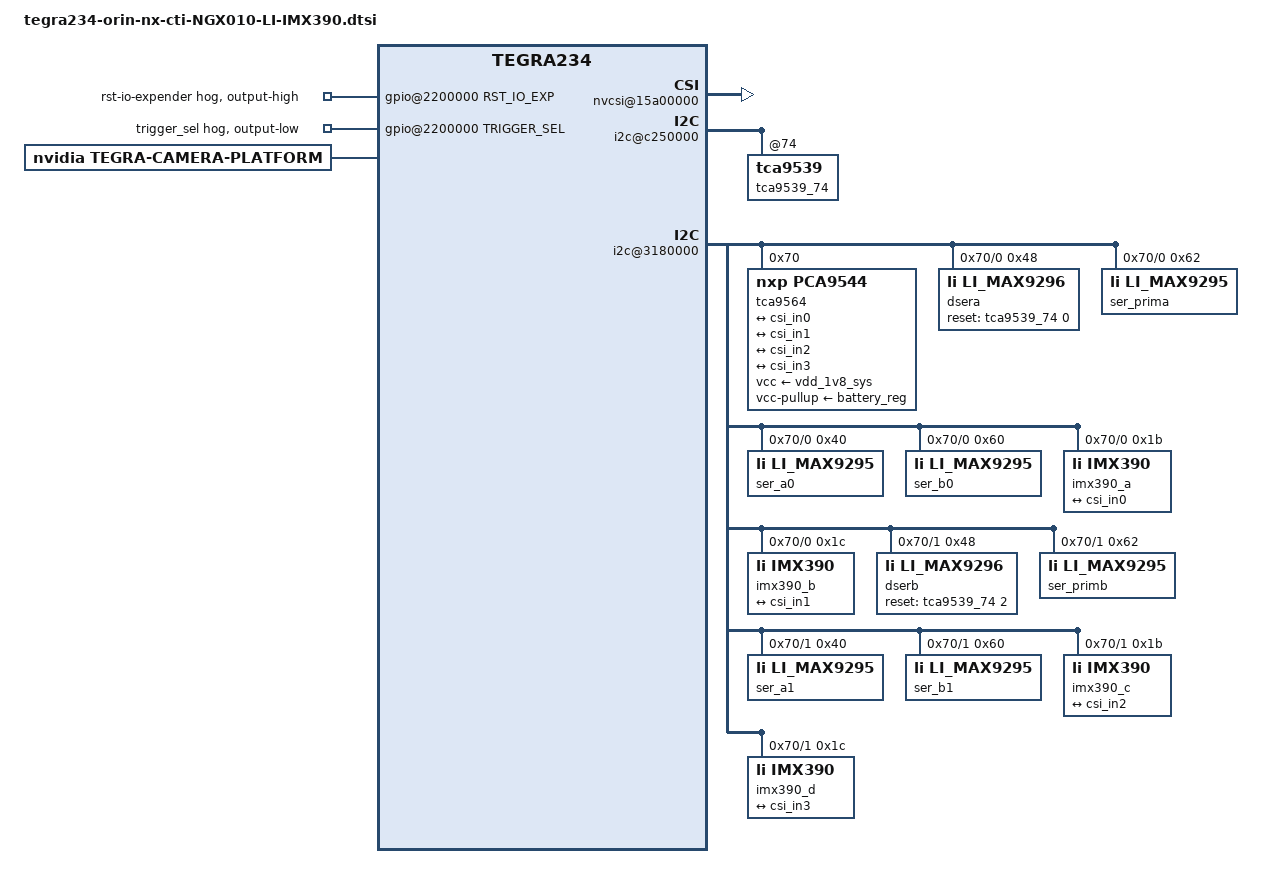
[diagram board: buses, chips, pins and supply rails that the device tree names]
/*
 * Copyright (c) 2024, Connect Tech Inc.  All rights reserved.
 *
 * This program is free software; you can redistribute it and/or modify it
 * under the terms and conditions of the GNU General Public License,
 * version 2, as published by the Free Software Foundation.
 *
 * This program is distributed in the hope it will be useful, but WITHOUT
 * ANY WARRANTY; without even the implied warranty of MERCHANTABILITY or
 * FITNESS FOR A PARTICULAR PURPOSE.  See the GNU General Public License for
 * more details.
 *
 * You should have received a copy of the GNU General Public License
 * along with this program.  If not, see <http://www.gnu.org/licenses/>.
 */

#include "dt-bindings/clock/tegra234-clock.h"

#define RST_IO_EXP TEGRA234_MAIN_GPIO(AC,1)
#define PWM_CALIB_GPIO TEGRA234_MAIN_GPIO(H,7) //CAM0_PWDN
#define TRIGGER_SEL TEGRA234_MAIN_GPIO(I,0) //CAM0_RST
#define PWR_EN		TEGRA234_MAIN_GPIO(AC, 7)
#define CAM_LANES 4
#define CAM_LANES_STRING "4" 
#define SERDES_PIX_CLK_HZ "480000000" 
                                        
#define IMX390_MODE0 \
		mclk_khz = "24000"; \
		discontinuous_clk = "no"; \
		dpcm_enable = "false"; \
		cil_settletime = "0"; \
		dynamic_pixel_bit_depth = "12"; \
		csi_pixel_bit_depth = "12"; \
		mode_type = "bayer"; \
		pixel_phase = "rggb"; \
		active_w = "1920"; \
		active_h = "1080"; \
		readout_orientation = "0"; \
		line_length = "2200"; \
		inherent_gain = "1"; \
		pix_clk_hz = "74250000"; \
		serdes_pix_clk_hz = SERDES_PIX_CLK_HZ; \
		gain_factor = "10"; \
		min_gain_val = "0";  \
		max_gain_val = "300"; \
		step_gain_val = "3"; \
		default_gain = "0"; \
		min_hdr_ratio = "1"; \
		max_hdr_ratio = "1"; \
		framerate_factor = "1000000"; \
		min_framerate = "30000000"; \
		max_framerate = "30000000"; \
		step_framerate = "1"; \
		default_framerate = "30000000"; \
		exposure_factor = "1000000"; \
		min_exp_time = "118"; \
		max_exp_time = "33333"; \
		step_exp_time = "1"; \
		default_exp_time = "33333"; \
		embedded_metadata_height = "0"; \

/ {

    tegra-capture-vi {
        status = "okay";
        num-channels = <4>;
        ports {
		    #address-cells = <1>;
		    #size-cells = <0>;
		    status = "okay";
	        port@0 {
		    	reg = <0>;
	            status = "okay";
	            vi_in0: endpoint {
		    	    vc-id = <0>;
	                port-index = <2>;
	                status = "okay";
	                bus-width = <CAM_LANES>;
		    	    remote-endpoint = <&csi_out0>;
	            };
	        };
		    port@1 {
		    	status = "okay";
		    	reg = <1>;
		    	vi_in1: endpoint {
		    		vc-id = <1>;
		    		port-index = <2>;
		    		status = "okay";
		    		bus-width = <CAM_LANES>;
		    		remote-endpoint = <&csi_out1>;
		    	};
	        };
		    port@2 {
				status = "okay";
				reg = <2>;
				vi_in2: endpoint {
					vc-id = <0>;
					port-index = <0>;
					bus-width = <CAM_LANES>;
					remote-endpoint = <&csi_out2>;
					status = "okay";
				};
		    };
		    port@3{
		    	status = "okay";
		    	reg = <3>;
		    	vi_in3: endpoint {
		    		vc-id = <1>;
		    		port-index = <0>;
		    		bus-width = <CAM_LANES>;
		    		remote-endpoint = <&csi_out3>;
		    		status = "okay";
		    	};
		    };
	    };
    };

    host1x@13e00000 {
        nvcsi@15a00000 {
		    num-channels = <4>;
		    #address-cells = <1>;
		    #size-cells = <0>;
			status = "okay";
			channel@0 {
				status = "okay";
				reg = <0>;
				ports {
					#address-cells = <1>;
					#size-cells = <0>;
					port@0 {
					status = "okay";
					reg = <0>;
						csi_in0: endpoint@0 {
				 			status = "okay";
				 			port-index = <2>;
				 			vc-id = <0>;
				 			bus-width = <CAM_LANES>;
				 			remote-endpoint = <&cam_out0>;
			 			};
					};
					port@1 {
						status = "okay";
						reg = <1>;
	                    csi_out0: endpoint@1 {
	        	            status = "okay";
				    		port-index = <2>;
				    		vc-id = <0>;
				    		bus-width = <CAM_LANES>;
				    		remote-endpoint = <&vi_in0>;
	                    };
	                };
	            };
	        };
			channel@1 {
				status = "okay";
				reg = <1>;
				ports {
					#address-cells = <1>;
					#size-cells = <0>;
					port@0 {
						reg = <0>;
						status = "okay";
						csi_in1: endpoint@2 {
							status = "okay";
							port-index = <2>;
							vc-id = <1>;
							bus-width = <CAM_LANES>;
							remote-endpoint = <&cam_out1>;
						};
					};
					port@1 {
						status = "okay";
						reg = <1>;
	                    csi_out1: endpoint@3 {
	            	        status = "okay";
				    		port-index = <2>;
				    		vc-id = <1>;
				    		bus-width = <CAM_LANES>;
				    		remote-endpoint = <&vi_in1>;
	                    };
	                };
	            };
	        };
		    channel@2 {
	            status = "okay";
				reg = <2>;
	            ports {
			    #address-cells = <1>;
			    #size-cells = <0>;
	            	port@0 {
	                	status = "okay";
						reg = <0>;
	                	csi_in2: endpoint@4 {
	    	            	status = "okay";
	                    	port-index = <0>;
				    		bus-width = <CAM_LANES>;
							vc-id = <0>;
	                    	remote-endpoint = <&cam_out2>;
	                	};
	            	};
	            	port@1 {
	        	    	status = "okay";
						reg = <1>;
	                	csi_out2: endpoint@5 {
	            	        status = "okay";
				    		port-index = <0>;
				    		bus-width = <CAM_LANES>;
							vc-id = <0>;
				    		remote-endpoint = <&vi_in2>;
	                    };
	                };
	            };
	        };
	        channel@3 {
	            status = "okay";
		    	reg = <3>;
	            ports {
		        	#address-cells = <1>;
		        	#size-cells = <0>;
		        	port@0 {
		    			reg = <0>;
	                    status = "okay";
	                    csi_in3: endpoint@6 {
	        	            status = "okay";
		    			    port-index = <0>;
	                        bus-width = <CAM_LANES>;
		    				vc-id = <1>;
	                        remote-endpoint = <&cam_out3>;
	                    };
	                };
	                port@1 {
	                	status = "okay";
		    			reg = <1>;
	                    csi_out3: endpoint@7 {
	            	        status = "okay";
		    	    		port-index = <0>;
		    	    		bus-width = <CAM_LANES>;
		    				vc-id = <1>;
		    	    		remote-endpoint = <&vi_in3>;
	                    };
	                };
	            };
	        };
	    };
    };

	gpio@2200000 {
		camera-control-output-high {
			status = "okay";
			gpio-hog;
			gpios = <RST_IO_EXP 0>;
			output-high;
			label = "rst-io-expender"; 
		};
		camera-control-output-low {
			status = "okay";
			gpio-hog;
			gpios = <TRIGGER_SEL 0>;
			output-low;
			label = "trigger_sel";
		};
	};

	i2c@c250000 {
        tca9539_74:tca9539@74 {
            tca9539_74_outlow {
                status = "okay";
                gpio-hog;
                gpios = <0 0 1 0 2 0 3 0>;
                output-low;
                gpio-line-names = "RST_A","PWDN_A","RST_B","PWDN_B";
            };
            tca9539_74_input {
                status = "disabled";
            };
        };
    };

    i2c@3180000 {
		status = "okay";
		#address-cells = <1>;
		#size-cells = <0>;
        tca9564@70 {
	    	status = "okay";
	    	compatible = "nxp,pca9544";
	    	reg = <0x70>;
	    	#address-cells = <1>;
	    	#size-cells = <0>;
	    	vcc-supply = <&vdd_1v8_sys>;
	    	vcc-pullup-supply = <&battery_reg>;
			vcc_lp = "vcc";
			skip_mux_detect = "yes";
			force_bus_start = <0x1e>;
			i2c@0 {
				status = "okay";
				reg = <0>;
				i2c-mux,deselect-on-exit;
				#address-cells = <1>;
				#size-cells = <0>;

				dsera: li_max9296@48 {
					compatible = "li,li_max9296";
					reg = <0x48>;
					csi-mode = "2x4";
					max-src = <2>;
					status = "okay";
					reset-gpios = <&tca9539_74 0 GPIO_ACTIVE_HIGH>;
				};
				ser_prima: li_max9295_prim@62 {
					compatible = "li,li_max9295";
					reg = <0x62>;
					is-prim-ser;
					status = "okay";
				};
				ser_a0: li_max9295_a@40 {
					compatible = "li,li_max9295";
					reg = <0x40>;
					nvidia,gmsl-dser-device = <&dsera>;
					status = "okay";
				};
				
				ser_b0: li_max9295_b@60 {
					compatible = "li,li_max9295";
					reg = <0x60>;
					nvidia,gmsl-dser-device = <&dsera>;
					status = "okay";
				};

				imx390_a@1b {
					def-addr = <0x21>;
					clocks = <&bpmp_clks TEGRA234_CLK_EXTPERIPH1>, <&bpmp_clks TEGRA234_CLK_EXTPERIPH1>;
					clock-names = "extperiph1", "pllp_grtba";
					mclk = "extperiph1";
					nvidia,gmsl-ser-device = <&ser_a0>;
					nvidia,gmsl-dser-device = <&dsera>;
					compatible = "li,imx390";
					reg = <0x1b>;
					reg_mux = <0>;
		
					physical_w = "15.0";
					physical_h = "12.5";
					sensor_model = "imx390";
					post_crop_frame_drop = "0";
					use_decibel_gain = "true";
					use_sensor_mode_id = "true";
		
					status = "okay";
					
					mode0 {
						IMX390_MODE0
						tegra_sinterface = "serial_c";
						num_lanes = CAM_LANES_STRING;
						//mode_lanes = <4>;
						vc_id = "0";
						lane_polarity = "0";
					};
		
					ports {
						#address-cells = <1>;
						#size-cells = <0>;
						port@0{
							reg = <0>;
							cam_out0: endpoint {
								vc-id = <0>;
								port-index = <2>;
								bus-width = <CAM_LANES>;
								remote-endpoint = <&csi_in0>;
		
							};
						};
					};
					gmsl-link {
						src-csi-port = "b";
						dst-csi-port = "a";
						serdes-csi-link = "a";
						csi-mode = "1x4";
						st-vc = <0>;
						vc-id = <0>;
						num-lanes = <CAM_LANES>;
						streams = "ued-u1","raw12";
		
					};
				};
		
				imx390_b@1c {
					def-addr = <0x21>;
					clocks = <&bpmp_clks TEGRA234_CLK_EXTPERIPH1>, <&bpmp_clks TEGRA234_CLK_EXTPERIPH1>;
					clock-names = "extperiph1", "pllp_grtba";
					mclk = "extperiph1";
					compatible = "li,imx390";
					nvidia,gmsl-ser-device = <&ser_b0>;
					nvidia,gmsl-dser-device = <&dsera>;
					reg = <0x1c>;
					reg_mux = <0>;
		
					physical_w = "15.0";
					physical_h = "12.5";
					sensor_model = "imx390";
					post_crop_frame_drop = "0";
					use_decibel_gain = "true";
					use_sensor_mode_id = "true";
		
					status = "okay";
					mode0 {
						IMX390_MODE0
						tegra_sinterface = "serial_c";
						num_lanes = CAM_LANES_STRING;
						//mode_lanes = <4>;
						vc_id = "1";
						lane_polarity = "0";
					};
					ports {
						#address-cells = <1>;
						#size-cells = <0>;
						port@0{
							reg = <0>;
							cam_out1: endpoint {
								vc-id = <1>;
								port-index = <2>;
								bus-width = <CAM_LANES>;
								remote-endpoint = <&csi_in1>;
		
							};
						};
					};
					gmsl-link {
						src-csi-port = "b";
						dst-csi-port = "a";
						serdes-csi-link = "b";
						csi-mode = "1x4";
						st-vc = <0>;
						vc-id = <1>;
						num-lanes = <CAM_LANES>;
						streams = "ued-u1","raw12";
		
					};
				};
            };

		    i2c@1 {
				status = "okay";
				reg = <1>;
				i2c-mux,deselect-on-exit;
				#address-cells = <1>;
				#size-cells = <0>;
				dserb: li_max9296@48 {
					compatible = "li,li_max9296";
					reg = <0x48>;
					csi-mode = "2x4";
					max-src = <2>;
					status = "okay";
					reset-gpios = <&tca9539_74 2 GPIO_ACTIVE_HIGH>;
				};
				ser_primb: li_max9295_prim@62 {
					compatible = "li,li_max9295";
					reg = <0x62>;
					is-prim-ser;
					status = "okay";
				};
				ser_a1: li_max9295_a@40 {
					compatible = "li,li_max9295";
					reg = <0x40>;
					nvidia,gmsl-dser-device = <&dserb>;
					status = "okay";
				};
				
				ser_b1: li_max9295_b@60 {
					compatible = "li,li_max9295";
					reg = <0x60>;
					nvidia,gmsl-dser-device = <&dserb>;
					status = "okay";
				};
	
				imx390_c@1b {
					def-addr = <0x21>;
					clocks = <&bpmp_clks TEGRA234_CLK_EXTPERIPH1>, <&bpmp_clks TEGRA234_CLK_EXTPERIPH1>;
					clock-names = "extperiph1", "pllp_grtba";
					mclk = "extperiph1";
					nvidia,gmsl-ser-device = <&ser_a1>;
					nvidia,gmsl-dser-device = <&dserb>;
					compatible = "li,imx390";
					reg = <0x1b>;
					reg_mux = <1>;
	
					physical_w = "15.0";
					physical_h = "12.5";
					sensor_model = "imx390";
					post_crop_frame_drop = "0";
					use_decibel_gain = "true";
					use_sensor_mode_id = "true";
	
					status = "okay";
					
					mode0 {
						IMX390_MODE0
						tegra_sinterface = "serial_a";
						num_lanes = CAM_LANES_STRING;
						//mode_lanes = <4>;
						vc_id = "0";
						lane_polarity = "6";
					};
	
					ports {
						#address-cells = <1>;
						#size-cells = <0>;
						port@0{
							reg = <0>;
							cam_out2: endpoint {
								vc-id = <0>;
								port-index = <0>;
								bus-width = <CAM_LANES>;
								remote-endpoint = <&csi_in2>;
	
							};
						};
					};
					gmsl-link {
						src-csi-port = "b";
						dst-csi-port = "a";
						serdes-csi-link = "a";
						csi-mode = "1x4";
						st-vc = <0>;
						vc-id = <0>;
						num-lanes = <CAM_LANES>;
						streams = "ued-u1","raw12";
	
					};
				};
	
				imx390_d@1c {
					def-addr = <0x21>;
					clocks = <&bpmp_clks TEGRA234_CLK_EXTPERIPH1>, <&bpmp_clks TEGRA234_CLK_EXTPERIPH1>;
					clock-names = "extperiph1", "pllp_grtba";
					mclk = "extperiph1";
					compatible = "li,imx390";
					nvidia,gmsl-ser-device = <&ser_b1>;
					nvidia,gmsl-dser-device = <&dserb>;
					reg = <0x1c>;
					reg_mux = <1>;
	
					physical_w = "15.0";
					physical_h = "12.5";
					sensor_model = "imx390";
					post_crop_frame_drop = "0";
					use_decibel_gain = "true";
					use_sensor_mode_id = "true";
	
					status = "okay";
					mode0 {
						IMX390_MODE0
						tegra_sinterface = "serial_a";
						num_lanes = CAM_LANES_STRING;
						//mode_lanes = <4>;
						vc_id = "1";
						lane_polarity = "6";
					};
					ports {
						#address-cells = <1>;
						#size-cells = <0>;
						port@0{
							reg = <0>;
							cam_out3: endpoint {
								vc-id = <1>;
								port-index = <0>;
								bus-width = <CAM_LANES>;
								remote-endpoint = <&csi_in3>;
	
							};
						};
					};
					gmsl-link {
						src-csi-port = "b";
						dst-csi-port = "a";
						serdes-csi-link = "b";
						csi-mode = "1x4";
						st-vc = <0>;
						vc-id = <1>;
						num-lanes = <CAM_LANES>;
						streams = "ued-u1","raw12";
	
					};
				};
		    };
        };
    };

    tegra-camera-platform {
        num_csi_lanes = <8>;
        max_lane_speed = <4000000>;
        min_bits_per_pixel = <10>;
        vi_peak_byte_per_pixel = <2>;
        vi_bw_margin_pct = <25>;
		//max_pixel_rate = <750000>;
        isp_peak_byte_per_pixel = <5>;
        isp_bw_margin_pct = <25>;
		compatible = "nvidia, tegra-camera-platform";
		status = "okay";
        
		modules {
			status = "okay";
			module0 {
				status = "okay";
				badge = "imx390_bottomleft";
				position = "bottomleft";
				orientation = "1";
				drivernode0 {
					status = "okay";
					pcl_id = "v4l2_sensor";
					devname = "imx390 30-001b";
					proc-device-tree = "/proc/device-tree/i2c@3180000/tca9564@70/i2c@0/imx390_a@1b";
				};
				
			};
			module1 {
				status = "okay";
				badge = "imx390_bottomright";
				position = "bottomright";
				orientation = "1";
				drivernode0 {
					status = "okay";
					pcl_id = "v4l2_sensor";
					devname = "imx390 30-001c";
					proc-device-tree = "/proc/device-tree/i2c@3180000/tca9564@70/i2c@0/imx390_b@1c";
				};
			};
			module2 {
				status = "okay";
				badge = "imx390_topleft";
				position = "topleft";
				orientation = "1";
				drivernode0 {
					status = "okay";
					pcl_id = "v4l2_sensor";
					devname = "imx390 31-001b";
					proc-device-tree = "/proc/device-tree/i2c@3180000/tca9564@70/i2c@1/imx390_c@1b";
				};
			};
			module3 {
				status = "okay";
				badge = "imx390_topright";
				position = "topright";
				orientation = "1";
				drivernode0 {
					status = "okay";
					pcl_id = "v4l2_sensor";
					devname = "imx390 31-001c";
					proc-device-tree = "/proc/device-tree/i2c@3180000/tca9564@70/i2c@1/imx390_d@1c";
				};
			};
        };
    };
};
